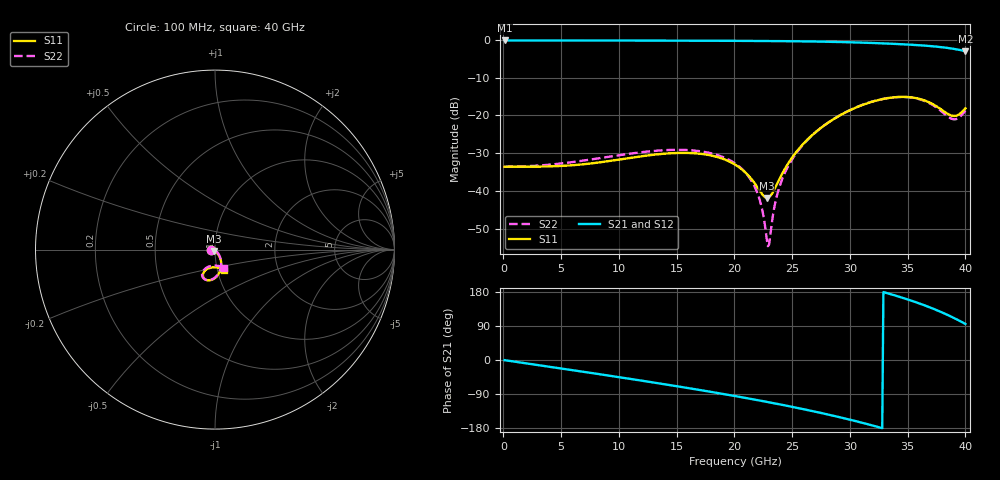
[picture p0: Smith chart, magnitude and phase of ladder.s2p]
! C_s8_nonfp: via ladder as kisi uses it (kisi_si::via_pbm, graded grid, junction model), ports at the via
# Hz S RI R 50
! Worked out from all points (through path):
!   400 points, 100 MHz to 40 GHz, reference 50 ohm
!   highest |S21| = -0.18 dB at 100 MHz (marker M1); lowest = -3.0 dB at 40 GHz (marker M2)
!   group delay of S21, straight-line fit = 16.8 ps
!   lowest |S11| = -41.8 dB at 22.8 GHz (marker M3), VSWR 1.02, Z = 49.6 - j0.689 ohm
!   |S11| at or under -10 dB: start of sweep to end of sweep
!   |S22| runs from -54.5 to -15.1 dB; largest |S21 - S12| = 0
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1e8  -0.021 -3.05e-05  0.9789 -0.00763  0.9789 -0.00763  -0.021 -3.47e-05
6.8e9  -0.0222 -0.00392  0.8423 -0.4968  0.8423 -0.4968  -0.0251 -0.00255
1.34e10  -0.0299 -0.00729  0.4675 -0.8552  0.4675 -0.8552  -0.0344 4.71e-05
1.74e10  -0.0305 -0.00356  0.1489 -0.9596  0.1489 -0.9596  -0.0325 0.00609
2.01e10  -0.0222 -0.00142  -0.0906 -0.9634  -0.0906 -0.9634  -0.0217 0.00752
2.11e10  -0.0166 -0.0021  -0.1818 -0.9487  -0.1818 -0.9487  -0.0154 0.00605
2.19e10  -0.0112 -0.00369  -0.2548 -0.9302  -0.2548 -0.9302  -0.00955 0.00365
2.24e10  -0.00746 -0.00529  -0.3003 -0.9154  -0.3003 -0.9154  -0.00556 0.00147
2.28e10  -0.00427 -0.00695  -0.3365 -0.9017  -0.3365 -0.9017  -0.00222 -0.000682
2.29e10  -0.00345 -0.00742  -0.3455 -0.8981  -0.3455 -0.8981  -0.00137 -0.00128
2.3e10  -0.00262 -0.00791  -0.3545 -0.8943  -0.3545 -0.8943  -0.000523 -0.00191
2.33e10  -8.19e-05 -0.00955  -0.3814 -0.8823  -0.3814 -0.8823  0.00208 -0.00394
2.35e10  0.00164 -0.0108  -0.3993 -0.8738  -0.3993 -0.8738  0.00382 -0.00543
2.43e10  0.0087 -0.0168  -0.4696 -0.8355  -0.4696 -0.8355  0.0109 -0.0125
2.53e10  0.0175 -0.0269  -0.5543 -0.7776  -0.5543 -0.7776  0.0193 -0.0241
2.67e10  0.0282 -0.0466  -0.6643 -0.6775  -0.6643 -0.6775  0.0291 -0.0456
2.99e10  0.0313 -0.111  -0.8521 -0.3662  -0.8521 -0.3662  0.0287 -0.1123
3.34e10  -0.0208 -0.1694  -0.8853 0.0793  -0.8853 0.0793  -0.0266 -0.1689
3.51e10  -0.0548 -0.1659  -0.8047 0.3121  -0.8047 0.3121  -0.0606 -0.1632
3.67e10  -0.0669 -0.1375  -0.6508 0.5179  -0.6508 0.5179  -0.0713 -0.1321
3.89e10  -0.0089 -0.0985  -0.292 0.7041  -0.292 0.7041  -0.00865 -0.0891
4e10  0.0486 -0.1143  -0.063 0.7033  -0.063 0.7033  0.0527 -0.1035
